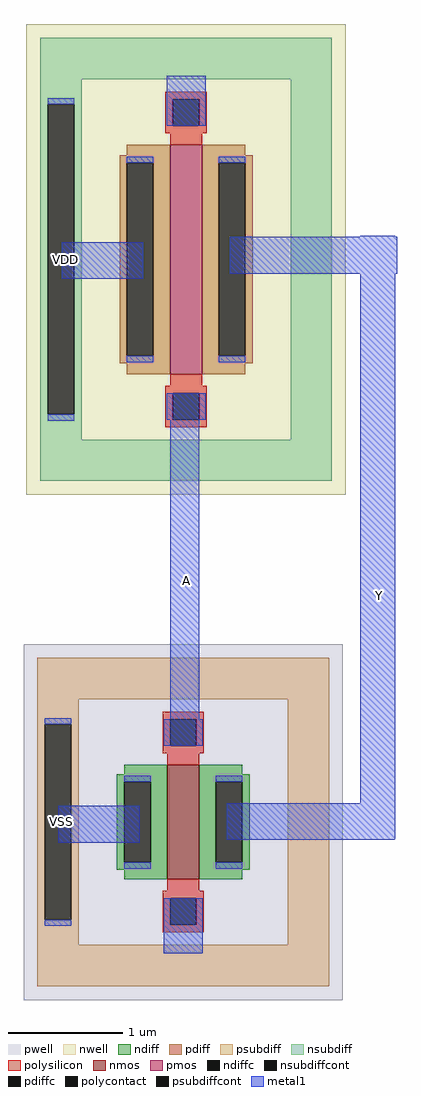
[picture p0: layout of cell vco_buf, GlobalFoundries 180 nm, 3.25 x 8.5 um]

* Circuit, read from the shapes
.subckt vco_buf A Y VSS VDD
XM1 Y A VSS VSS nfet_03v3 w=1u l=0.28u
XM2 Y A VDD VDD pfet_03v3 w=2u l=0.28u
.ends

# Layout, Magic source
magic
tech gf180mcuD
magscale 1 10
<< metal1 >>
rect 179 1463 247 1550
rect 516 1269 577 1271
rect -4 1196 138 1260
rect 289 1205 581 1269
rect 185 383 236 997
rect 516 283 577 1205
rect -10 214 132 278
rect 284 221 577 283
rect 284 219 576 221
rect 174 21 242 117
use nfet_03v3_RP234Q  nfet_03v3_RP234Q_0
transform 1 0 208 0 1 250
box -278 -310 278 310
use pfet_03v3_2T97SG  pfet_03v3_2T97SG_0
transform 1 0 213 0 1 1230
box -278 -410 278 410
<< labels >>
rlabel metal1 208 653 221 690 1 A
port 1 n
rlabel metal1 537 619 562 670 1 Y
port 2 n
rlabel metal1 -10 226 3 277 1 VSS
port 3 n
rlabel metal1 -4 1204 10 1255 1 VDD
port 4 n
<< end >>

# cell nfet_03v3_RP234Q: kit device nfet_03v3, w 1 l 0.280 m 1 nf 1 diffcov 80 polycov 100 guard 1 glc 1 grc 0 gtc 0 gbc 0 tbcov 100 rlcov 100 topc 1 botc 1 poverlap 0 doverlap 0 lmin 0.28 wmin 0.22 class mosfet full_metal 0 compatible {nfet_03v3 nfet_05v0 nfet_06v0 nfet_06v0_nvt}

# cell pfet_03v3_2T97SG: kit device pfet_03v3, w 2 l 0.280 m 1 nf 1 diffcov 90 polycov 100 guard 1 glc 1 grc 0 gtc 0 gbc 0 tbcov 100 rlcov 100 topc 1 botc 1 poverlap 0 doverlap 0 lmin 0.28 wmin 0.22 class mosfet full_metal 0 compatible {pfet_03v3 pfet_05v0 pfet_06v0}
